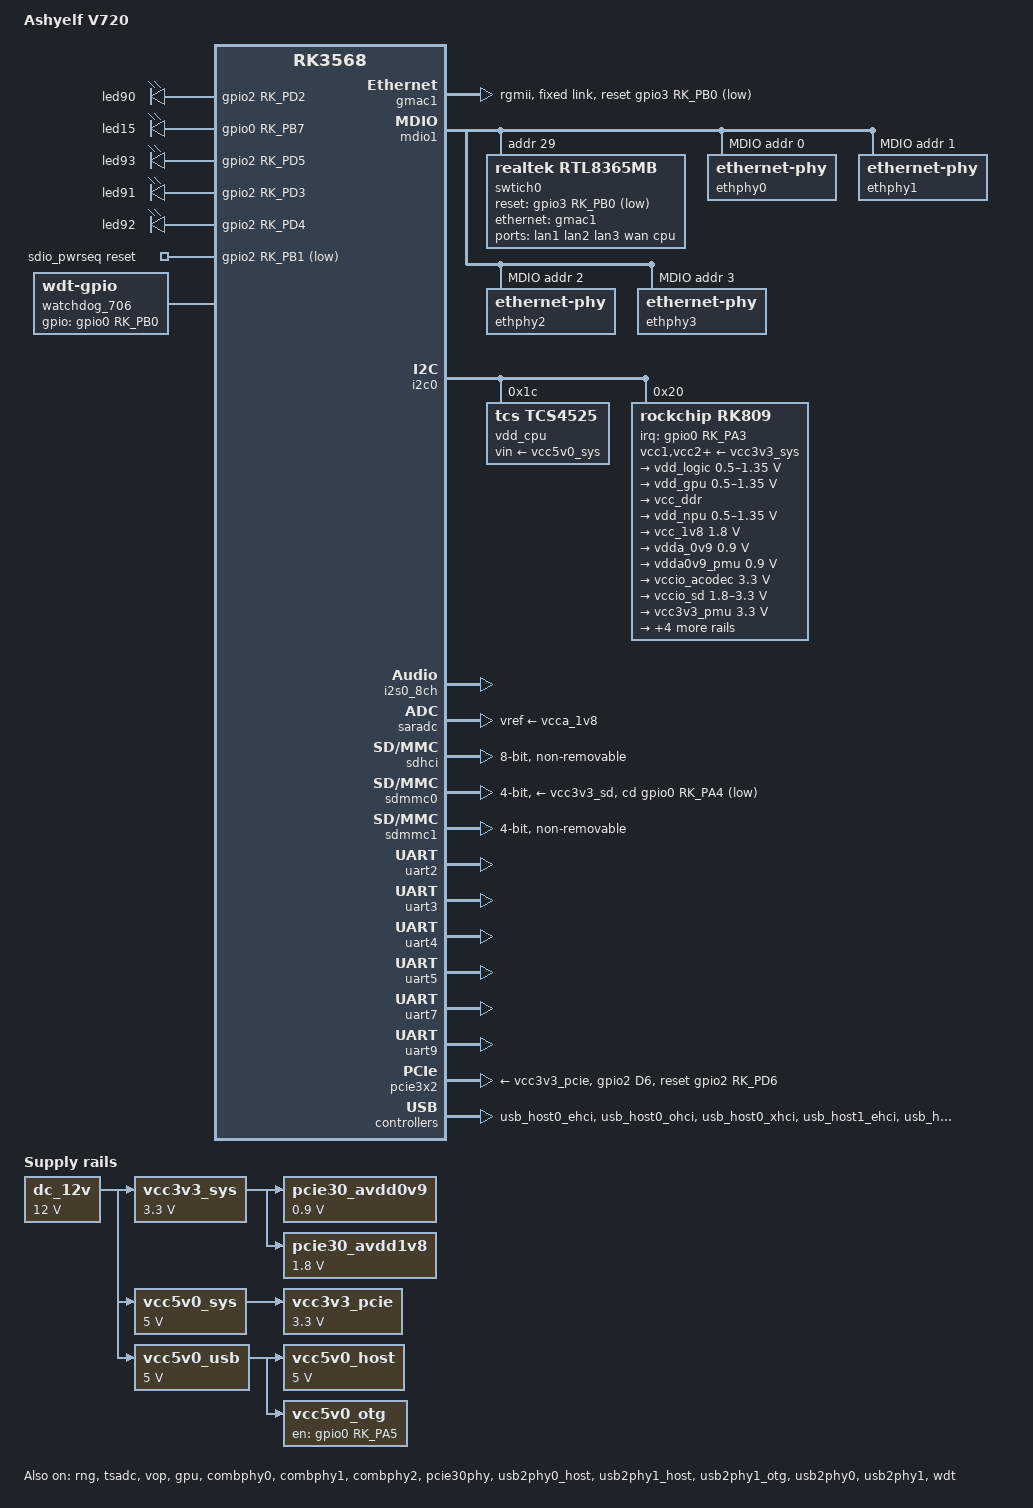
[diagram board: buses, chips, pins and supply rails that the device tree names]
// SPDX-License-Identifier: (GPL-2.0+ OR MIT)
/*
 * Copyright (c) 2021 Rockchip Electronics Co., Ltd.
 *
 */

/dts-v1/;

#include <dt-bindings/gpio/gpio.h>
#include <dt-bindings/pinctrl/rockchip.h>
#include <dt-bindings/soc/rockchip,vop2.h>
#include "rk3568.dtsi"

/ {
	model = "Ashyelf V720";
	compatible = "ashyelf,v720", "rockchip,rk3568";

	aliases {
		ethernet0 = &gmac1;
		mmc0 = &sdmmc0;
		mmc1 = &sdhci;
		watchdog0 = &wdt;
		watchdog9 = &watchdog_706;
	};

	chosen: chosen {
		stdout-path = "serial2:1500000n8";
	};

	leds {
		compatible = "gpio-leds";
		pinctrl-names = "default";
		pinctrl-0 = <&bd_led_pins>;

		bd_led1: led-1 {
			label = "led90";
			default-state = "on";
			gpios = <&gpio2 RK_PD2 GPIO_ACTIVE_HIGH>;
		};

		bd_led2: led-2 {
			label = "led15";
			default-state = "on";
			gpios = <&gpio0 RK_PB7 GPIO_ACTIVE_HIGH>;
		};

		bd_led3: led-3 {
			label = "led93";
			default-state = "on";
			gpios = <&gpio2 RK_PD5 GPIO_ACTIVE_HIGH>;
		};

		bd_led4: led-4 {
			label = "led91";
			default-state = "on";
			gpios = <&gpio2 RK_PD3 GPIO_ACTIVE_HIGH>;
		};

		bd_led5: led-5 {
			label = "led92";
			default-state = "on";
			gpios = <&gpio2 RK_PD4 GPIO_ACTIVE_HIGH>;
		};
	};

	sdio_pwrseq: sdio-pwrseq {
		status = "okay";
		compatible = "mmc-pwrseq-simple";
		clocks = <&rk809 1>;
		clock-names = "ext_clock";
		pinctrl-names = "default";
		pinctrl-0 = <&wifi_enable_h>;
		reset-gpios = <&gpio2 RK_PB1 GPIO_ACTIVE_LOW>;
		post-power-on-delay-ms = <100>;
	};

	dc_12v: dc-12v {
		compatible = "regulator-fixed";
		regulator-name = "dc_12v";
		regulator-always-on;
		regulator-boot-on;
		regulator-min-microvolt = <12000000>;
		regulator-max-microvolt = <12000000>;
	};

	vcc3v3_sys: vcc3v3-sys {
		compatible = "regulator-fixed";
		regulator-name = "vcc3v3_sys";
		regulator-always-on;
		regulator-boot-on;
		regulator-min-microvolt = <3300000>;
		regulator-max-microvolt = <3300000>;
		vin-supply = <&dc_12v>;
	};

	vcc5v0_sys: vcc5v0-sys {
		compatible = "regulator-fixed";
		regulator-name = "vcc5v0_sys";
		regulator-always-on;
		regulator-boot-on;
		regulator-min-microvolt = <5000000>;
		regulator-max-microvolt = <5000000>;
		vin-supply = <&dc_12v>;
	};

	vcc5v0_usb: vcc5v0-usb {
		compatible = "regulator-fixed";
		regulator-name = "vcc5v0_usb";
		regulator-always-on;
		regulator-boot-on;
		regulator-min-microvolt = <5000000>;
		regulator-max-microvolt = <5000000>;
		vin-supply = <&dc_12v>;
	};

	pcie30_avdd0v9: pcie30-avdd0v9 {
		compatible = "regulator-fixed";
		regulator-name = "pcie30_avdd0v9";
		regulator-always-on;
		regulator-boot-on;
		regulator-min-microvolt = <900000>;
		regulator-max-microvolt = <900000>;
		vin-supply = <&vcc3v3_sys>;
	};

	pcie30_avdd1v8: pcie30-avdd1v8 {
		compatible = "regulator-fixed";
		regulator-name = "pcie30_avdd1v8";
		regulator-always-on;
		regulator-boot-on;
		regulator-min-microvolt = <1800000>;
		regulator-max-microvolt = <1800000>;
		vin-supply = <&vcc3v3_sys>;
	};

	vcc3v3_pcie: vcc3v3_pi6c: vcc3v3-pcie {
		compatible = "regulator-fixed";
		regulator-always-on;
		enable-active-high;
		//gpio = <&gpio0 RK_PD4 GPIO_ACTIVE_HIGH>;
		pinctrl-names = "default";
		//pinctrl-0 = <&pcie_enable_h>;
		regulator-name = "vcc3v3_pcie";
		regulator-min-microvolt = <3300000>;
		regulator-max-microvolt = <3300000>;
		vin-supply = <&vcc5v0_sys>;
	};

	vcc5v0_host: vcc5v0-host {
		compatible = "regulator-fixed";
		regulator-name = "vcc5v0_host";
		enable-active-high;
		//gpio = <&gpio0 RK_PA6 GPIO_ACTIVE_HIGH>;
		pinctrl-names = "default";
		//pinctrl-0 = <&vcc5v0_host_en>;
		regulator-always-on;
		regulator-min-microvolt = <5000000>;
		regulator-max-microvolt = <5000000>;
		vin-supply = <&vcc5v0_usb>;
	};

	vcc5v0_otg: vcc5v0-otg {
		compatible = "regulator-fixed";
		regulator-name = "vcc5v0_otg";
		enable-active-high;
		gpio = <&gpio0 RK_PA5 GPIO_ACTIVE_HIGH>;
		pinctrl-names = "default";
		pinctrl-0 = <&vcc5v0_otg_en>;
		vin-supply = <&vcc5v0_usb>;
	};

	watchdog_706: watchdog-706 {
		pinctrl-names = "default";
		pinctrl-0 = <&watchdog_wdi>;
		compatible = "linux,wdt-gpio";
		always-enabled;
		always-running;
		gpios = <&gpio0 RK_PB0 GPIO_ACTIVE_HIGH>;
		hw_algo = "toggle";
		hw_margin_ms = <800>;
		status = "okay";
	};
	
};

&gmac1 {
	phy-mode = "rgmii";
	clock_in_out = "output";

	snps,reset-gpio = <&gpio3 RK_PB0 GPIO_ACTIVE_LOW>;
	snps,reset-active-low;
	/* Reset time is 20ms, 100ms for rtl8211f */
	snps,reset-delays-us = <0 20000 900000>;
	assigned-clocks = <&cru SCLK_GMAC1_RX_TX>, <&cru SCLK_GMAC1>;
	assigned-clock-parents = <&cru SCLK_GMAC1_RGMII_SPEED>, <&cru CLK_MAC1_2TOP>;
	assigned-clock-rates = <125000000>;
	pinctrl-names = "default";

	pinctrl-0 = <&gmac1m1_miim
		     &gmac1m1_tx_bus2
		     &gmac1m1_rx_bus2
		     &gmac1m1_rgmii_clk
		     &gmac1m1_rgmii_bus>;

	tx_delay = <0x0>;
	//tx_delay = <0x2c>;
	rx_delay = <0x0>;
	//rx_delay = <0x0f>;

	status = "okay";

	fixed-link {
		speed = <1000>;
		full-duplex;
		pause;
	};
};

&mdio1 {
	swtich0: switch0@29 {
		compatible = "realtek,rtl8365mb";
		reg = <29 0>;
		#address-cells = <1>;
		#size-cells = <0>;
		reset = <&gpio3 RK_PB0 GPIO_ACTIVE_LOW>;

		//realtek,disable-leds;
		//dsa,member = <1 0>;
		/* have error for this, RK_PA7 connect NPN, that's wrong
		switch_intc: interrupt-controller {
			interrupt-parent = <&gpio3>;
			interrupts = <RK_PA7 IRQ_TYPE_LEVEL_HIGH>;
			interrupt-controller;
			#address-cells = <0>;
			#interrupt-cells = <1>;
		};
		*/
	
		ports {
			#address-cells = <1>;
			#size-cells = <0>;

			port@0 {
				reg = <0>;
				label = "lan1";
				phy-handle = <&ethphy0>;
			};

			port@1 {
				reg = <1>;
				label = "lan2";
				phy-handle = <&ethphy1>;
			};

			port@2 {
				reg = <2>;
				label = "lan3";
				phy-handle = <&ethphy2>;
			};

			port@3 {
				reg = <3>;
				label = "wan";
				phy-handle = <&ethphy3>;
			};

			port@7 {
				reg = <7>;
				label = "cpu";
				ethernet = <&gmac1>;
				phy-mode = "rgmii";
				tx-internal-delay-ps = <2000>;
				rx-internal-delay-ps = <1500>;

				fixed-link {
					speed = <1000>;
					full-duplex;
					pause;
				};
			};
		};
	};

	mdio {
		compatible = "realtek,smi-mdio";
		#address-cells = <0x1>;
		#size-cells = <0x0>;

		ethphy0: ethernet-phy@0 {
			reg = <0>;
			//interrupt-parent = <&switch_intc>;
			//interrupts = <0>;
		};

		ethphy1: ethernet-phy@1 {
			//interrupt-parent = <&switch_intc>;
			//interrupts = <1>;
			reg = <1>;
		};

		ethphy2: ethernet-phy@2 {
			//interrupt-parent = <&switch_intc>;
			//interrupts = <2>;
			reg = <2>;
		};

		ethphy3: ethernet-phy@3 {
			//interrupt-parent = <&switch_intc>;
			//interrupts = <3>;
			reg = <3>;
		};
	};
};

&i2c0 {
	status = "okay";

	vdd_cpu: regulator@1c {
		compatible = "tcs,tcs4525";
		reg = <0x1c>;
		fcs,suspend-voltage-selector = <1>;
		regulator-name = "vdd_cpu";
		regulator-always-on;
		regulator-boot-on;
		regulator-min-microvolt = <800000>;
		regulator-max-microvolt = <1150000>;
		regulator-ramp-delay = <2300>;
		vin-supply = <&vcc5v0_sys>;

		regulator-state-mem {
			regulator-off-in-suspend;
		};
	};

	rk809: pmic@20 {
		compatible = "rockchip,rk809";
		reg = <0x20>;
		interrupt-parent = <&gpio0>;
		interrupts = <RK_PA3 IRQ_TYPE_LEVEL_LOW>;
		assigned-clocks = <&cru I2S1_MCLKOUT_TX>;
		assigned-clock-parents = <&cru CLK_I2S1_8CH_TX>;
		#clock-cells = <1>;
		clock-names = "mclk";
		clocks = <&cru I2S1_MCLKOUT_TX>;
		pinctrl-names = "default";
		pinctrl-0 = <&pmic_int>;
		rockchip,system-power-controller;
		#sound-dai-cells = <0>;
		vcc1-supply = <&vcc3v3_sys>;
		vcc2-supply = <&vcc3v3_sys>;
		vcc3-supply = <&vcc3v3_sys>;
		vcc4-supply = <&vcc3v3_sys>;
		vcc5-supply = <&vcc3v3_sys>;
		vcc6-supply = <&vcc3v3_sys>;
		vcc7-supply = <&vcc3v3_sys>;
		vcc8-supply = <&vcc3v3_sys>;
		vcc9-supply = <&vcc3v3_sys>;
		wakeup-source;

		regulators {
			vdd_logic: DCDC_REG1 {
				regulator-name = "vdd_logic";
				regulator-always-on;
				regulator-boot-on;
				regulator-init-microvolt = <900000>;
				regulator-initial-mode = <0x2>;
				regulator-min-microvolt = <500000>;
				regulator-max-microvolt = <1350000>;
				regulator-ramp-delay = <6001>;

				regulator-state-mem {
					regulator-off-in-suspend;
				};
			};

			vdd_gpu: DCDC_REG2 {
				regulator-name = "vdd_gpu";
				regulator-always-on;
				regulator-init-microvolt = <900000>;
				regulator-initial-mode = <0x2>;
				regulator-min-microvolt = <500000>;
				regulator-max-microvolt = <1350000>;
				regulator-ramp-delay = <6001>;

				regulator-state-mem {
					regulator-off-in-suspend;
				};
			};

			vcc_ddr: DCDC_REG3 {
				regulator-name = "vcc_ddr";
				regulator-always-on;
				regulator-boot-on;
				regulator-initial-mode = <0x2>;

				regulator-state-mem {
					regulator-on-in-suspend;
				};
			};

			vdd_npu: DCDC_REG4 {
				regulator-name = "vdd_npu";
				regulator-init-microvolt = <900000>;
				regulator-initial-mode = <0x2>;
				regulator-min-microvolt = <500000>;
				regulator-max-microvolt = <1350000>;
				regulator-ramp-delay = <6001>;

				regulator-state-mem {
					regulator-off-in-suspend;
				};
			};

			vcc_1v8: DCDC_REG5 {
				regulator-name = "vcc_1v8";
				regulator-always-on;
				regulator-boot-on;
				regulator-min-microvolt = <1800000>;
				regulator-max-microvolt = <1800000>;

				regulator-state-mem {
					regulator-off-in-suspend;
				};
			};

			vdda_0v9: LDO_REG2 {
				regulator-name = "vdda_0v9";
				regulator-always-on;
				regulator-boot-on;
				regulator-min-microvolt = <900000>;
				regulator-max-microvolt = <900000>;

				regulator-state-mem {
					regulator-off-in-suspend;
				};
			};

			vdda0v9_pmu: LDO_REG3 {
				regulator-name = "vdda0v9_pmu";
				regulator-always-on;
				regulator-boot-on;
				regulator-min-microvolt = <900000>;
				regulator-max-microvolt = <900000>;

				regulator-state-mem {
					regulator-on-in-suspend;
					regulator-suspend-microvolt = <900000>;
				};
			};

			vccio_acodec: LDO_REG4 {
				regulator-name = "vccio_acodec";
				regulator-always-on;
				regulator-min-microvolt = <3300000>;
				regulator-max-microvolt = <3300000>;

				regulator-state-mem {
					regulator-off-in-suspend;
				};
			};

			vccio_sd: LDO_REG5 {
				regulator-name = "vccio_sd";
				regulator-min-microvolt = <1800000>;
				regulator-max-microvolt = <3300000>;

				regulator-state-mem {
					regulator-off-in-suspend;
				};
			};

			vcc3v3_pmu: LDO_REG6 {
				regulator-name = "vcc3v3_pmu";
				regulator-always-on;
				regulator-boot-on;
				regulator-min-microvolt = <3300000>;
				regulator-max-microvolt = <3300000>;

				regulator-state-mem {
					regulator-on-in-suspend;
					regulator-suspend-microvolt = <3300000>;
				};
			};

			vcca_1v8: LDO_REG7 {
				regulator-name = "vcca_1v8";
				regulator-always-on;
				regulator-boot-on;
				regulator-min-microvolt = <1800000>;
				regulator-max-microvolt = <1800000>;

				regulator-state-mem {
					regulator-off-in-suspend;
				};
			};

			vcca1v8_pmu: LDO_REG8 {
				regulator-name = "vcca1v8_pmu";
				regulator-always-on;
				regulator-boot-on;
				regulator-min-microvolt = <1800000>;
				regulator-max-microvolt = <1800000>;

				regulator-state-mem {
					regulator-on-in-suspend;
					regulator-suspend-microvolt = <1800000>;
				};
			};

			vcc_3v3: SWITCH_REG1 {
				regulator-name = "vcc_3v3";
				regulator-always-on;
				regulator-boot-on;

				regulator-state-mem {
					regulator-off-in-suspend;
				};
			};

			vcc3v3_sd: SWITCH_REG2 {
				regulator-name = "vcc3v3_sd";

				regulator-state-mem {
					regulator-off-in-suspend;
				};
			};
		};
	};
};

&rng {
	status = "okay";
};

&pinctrl {
	leds {
		bd_led_pins: bd-led-pins {
			rockchip,pins = <2 RK_PD2 RK_FUNC_GPIO &pcfg_pull_none>,
					<0 RK_PB7 RK_FUNC_GPIO &pcfg_pull_none>,
					<2 RK_PD5 RK_FUNC_GPIO &pcfg_pull_none>,
					<2 RK_PB3 RK_FUNC_GPIO &pcfg_pull_none>,
					<2 RK_PB4 RK_FUNC_GPIO &pcfg_pull_none>;
		};
	};

	hd-watchdog {
		watchdog_wdi: watchdog-wdi {
			rockchip,pins = <0 RK_PB0 RK_FUNC_GPIO &pcfg_pull_none>;
		}; 
	};


	sdio-pwrseq {
		wifi_enable_h: wifi-enable-h {
			rockchip,pins = <2 RK_PB1 RK_FUNC_GPIO &pcfg_pull_none>;
		};
	};

	usb {
		//vcc5v0_host_en: vcc5v0-host-en {
		//	rockchip,pins = <0 RK_PA6 RK_FUNC_GPIO &pcfg_pull_none>;
		//};
		vcc5v0_otg_en: vcc5v0-otg-en {
			rockchip,pins = <0 RK_PA5 RK_FUNC_GPIO &pcfg_pull_none>;
		};
	};

	fusb0_int {
		fusb0_int: fusb0-int {
			rockchip,pins = <0 RK_PC1 RK_FUNC_GPIO &pcfg_pull_up>;
		};
	};


	pcie {
	//	pcie_enable_h: pcie-enable-h {
	//		rockchip,pins = <0 RK_PD4 RK_FUNC_GPIO &pcfg_pull_none>;
	//	};

		pcie_reset_h: pcie-reset-h {
			rockchip,pins = <2 RK_PD6 RK_FUNC_GPIO &pcfg_pull_none>;
		};
	};

	pmic {
		pmic_int: pmic_int {
			rockchip,pins =
				<0 RK_PA3 RK_FUNC_GPIO &pcfg_pull_up>;
		};
	};
};

&i2s0_8ch {
	status = "okay";
};

&pmu_io_domains {
	pmuio1-supply = <&vcc3v3_pmu>;
	pmuio2-supply = <&vcc3v3_pmu>;
	vccio1-supply = <&vccio_acodec>;
	vccio2-supply = <&vcc_1v8>;
	vccio3-supply = <&vccio_sd>;
	vccio4-supply = <&vcc_1v8>;
	vccio5-supply = <&vcc_3v3>;
	vccio6-supply = <&vcc_3v3>;
	vccio7-supply = <&vcc_3v3>;
	status = "okay";
};

&saradc {
	vref-supply = <&vcca_1v8>;
	status = "okay";
};

&sdhci {
	bus-width = <8>;
	max-frequency = <200000000>;
	non-removable;
	pinctrl-names = "default";
	pinctrl-0 = <&emmc_bus8 &emmc_clk &emmc_cmd &emmc_datastrobe>;
	status = "okay";
};

&sdmmc0 {
	bus-width = <4>;
	cap-sd-highspeed;
	cd-gpios = <&gpio0 RK_PA4 GPIO_ACTIVE_LOW>;
	disable-wp;
	pinctrl-names = "default";
	pinctrl-0 = <&sdmmc0_bus4 &sdmmc0_clk &sdmmc0_cmd &sdmmc0_det>;
	sd-uhs-sdr104;
	vmmc-supply = <&vcc3v3_sd>;
	vqmmc-supply = <&vccio_sd>;
	status = "okay";
};

&sdmmc1 {
	max-frequency = <150000000>;
	supports-sdio;
	bus-width = <4>;
	disable-wp;
	cap-sd-highspeed;
	cap-sdio-irq;
	keep-power-in-suspend;
	pinctrl-names = "default";
	pinctrl-0 = <&sdmmc1_bus4 &sdmmc1_cmd &sdmmc1_clk>;
	sd-uhs-sdr104;
	mmc-pwrseq = <&sdio_pwrseq>;
	non-removable;
	status = "okay";
};

&sdmmc2 {
	status = "disabled";
};

&tsadc {
        status = "okay";
};

&uart2 {
	pinctrl-0 = <&uart2m0_xfer>;
	status = "okay";
};

&uart3 {
	pinctrl-0 = <&uart3m1_xfer>;
	status = "okay";
};

&uart4 {
	pinctrl-0 = <&uart4m1_xfer>;
	status = "okay";
};

&uart5 {
	pinctrl-0 = <&uart5m1_xfer>;
	status = "okay";
};

&uart7 {
	pinctrl-0 = <&uart7m1_xfer>;
	status = "okay";
};

&uart9 {
	pinctrl-0 = <&uart9m1_xfer>;
	status = "okay";
};

&vop {
	status = "okay";
	assigned-clocks = <&cru DCLK_VOP0>, <&cru DCLK_VOP1>;
	assigned-clock-parents = <&pmucru PLL_HPLL>, <&cru PLL_VPLL>;
};

&vop_mmu {
	status = "okay";
};

&cpu0 {
	cpu-supply = <&vdd_cpu>;
};

&cpu1 {
	cpu-supply = <&vdd_cpu>;
};

&cpu2 {
	cpu-supply = <&vdd_cpu>;
};

&cpu3 {
	cpu-supply = <&vdd_cpu>;
};

&gpu {
	mali-supply = <&vdd_gpu>;
	status = "okay";
};

&combphy0 {
	status = "okay";
};

&combphy1 {
	status = "okay";
};

&combphy2 {
	status = "okay";
};

&pcie30phy {
	status = "okay";
};

&pcie3x2{
	pinctrl-names = "default";
	pinctrl-0 = <&pcie_reset_h>;
	reset-gpios = <&gpio2 RK_PD6 GPIO_ACTIVE_HIGH>;
	vpcie3v3-supply = <&vcc3v3_pcie>;
	status = "okay";
};

&usb2phy0_host {
	phy-supply = <&vcc5v0_host>;
	status = "okay";
};

&usb2phy1_host {
	phy-supply = <&vcc5v0_host>;
	status = "okay";
};

&usb2phy1_otg {
	phy-supply = <&vcc5v0_host>;
	status = "okay";
};

&usb2phy0 {
	status = "okay";
};

&usb2phy1 {
	status = "okay";
};

&usb_host0_ehci {
	status = "okay";
};

&usb_host0_ohci {
	status = "okay";
};

&usb_host0_xhci {
	extcon = <&usb2phy0>;
	status = "okay";
};

&usb_host1_ehci {
	status = "okay";
};

&usb_host1_ohci {
	status = "okay";
};

&usb_host1_xhci {
	status = "okay";
};

&wdt {
	status = "okay";
};
